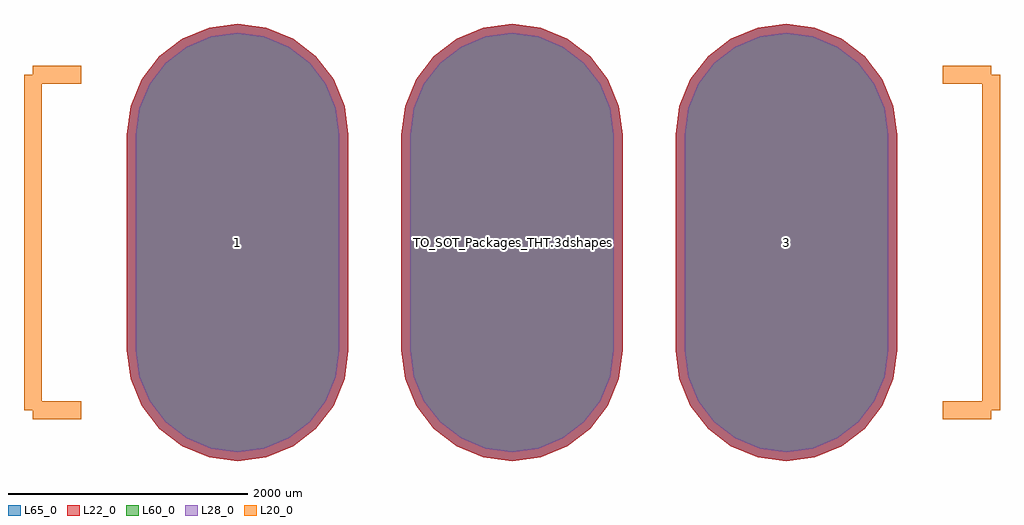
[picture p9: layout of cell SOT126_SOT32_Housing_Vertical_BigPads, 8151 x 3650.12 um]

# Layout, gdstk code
import gdstk
lib = gdstk.Library(unit=1e-6, precision=1e-09)
def P(c, l, *ps):  # polygons
    for p in ps: c.add(gdstk.Polygon(p, *l))
L20_0 = (20, 0)
L22_0 = (22, 0)
L28_0 = (28, 0)
L60_0 = (60, 0)
L65_0 = (65, 0)

sot126_sot32_housing_ver = lib.new_cell('SOT126_SOT32_Housing_Vertical_BigPads')
P(sot126_sot32_housing_ver, L22_0, [(2291.08,-1825.06),(2530.392,-1793.554),(2753.395,-1701.183),(2944.892,-1554.242),(3091.833,-1362.745),(3184.204,-1139.742),(3215.71,-900.43),(3215.71,900.43),(3184.204,1139.742),(3091.833,1362.745),(2944.892,1554.242),(2753.395,1701.183),(2530.392,1793.554),(2291.08,1825.06),(2051.768,1793.554),(1828.765,1701.183),(1637.268,1554.242),(1490.327,1362.745),(1397.956,1139.742),(1366.45,900.43),(1366.45,-900.43),(1397.956,-1139.742),(1490.327,-1362.745),(1637.268,-1554.242),(1828.765,-1701.183),(2051.768,-1793.554)],
  [(-2291.08,-1825.06),(-2051.768,-1793.554),(-1828.765,-1701.183),(-1637.268,-1554.242),(-1490.327,-1362.745),(-1397.956,-1139.742),(-1366.45,-900.43),(-1366.45,900.43),(-1397.956,1139.742),(-1490.327,1362.745),(-1637.268,1554.242),(-1828.765,1701.183),(-2051.768,1793.554),(-2291.08,1825.06),(-2530.392,1793.554),(-2753.395,1701.183),(-2944.892,1554.242),(-3091.833,1362.745),(-3184.204,1139.742),(-3215.71,900.43),(-3215.71,-900.43),(-3184.204,-1139.742),(-3091.833,-1362.745),(-2944.892,-1554.242),(-2753.395,-1701.183),(-2530.392,-1793.554)],
  [(0,-1825.06),(239.312,-1793.554),(462.315,-1701.183),(653.812,-1554.242),(800.753,-1362.745),(893.124,-1139.742),(924.63,-900.43),(924.63,900.43),(893.124,1139.742),(800.753,1362.745),(653.812,1554.242),(462.315,1701.183),(239.312,1793.554),(0,1825.06),(-239.312,1793.554),(-462.315,1701.183),(-653.812,1554.242),(-800.753,1362.745),(-893.124,1139.742),(-924.63,900.43),(-924.63,-900.43),(-893.124,-1139.742),(-800.753,-1362.745),(-653.812,-1554.242),(-462.315,-1701.183),(-239.312,-1793.554)])
P(sot126_sot32_housing_ver, L28_0, [(2291.08,-1750.06),(2510.98,-1721.11),(2715.895,-1636.231),(2891.859,-1501.209),(3026.881,-1325.245),(3111.76,-1120.33),(3140.71,-900.43),(3140.71,900.43),(3111.76,1120.33),(3026.881,1325.245),(2891.859,1501.209),(2715.895,1636.231),(2510.98,1721.11),(2291.08,1750.06),(2071.18,1721.11),(1866.265,1636.231),(1690.301,1501.209),(1555.279,1325.245),(1470.4,1120.33),(1441.45,900.43),(1441.45,-900.43),(1470.4,-1120.33),(1555.279,-1325.245),(1690.301,-1501.209),(1866.265,-1636.231),(2071.18,-1721.11)],
  [(-2291.08,-1750.06),(-2071.18,-1721.11),(-1866.265,-1636.231),(-1690.301,-1501.209),(-1555.279,-1325.245),(-1470.4,-1120.33),(-1441.45,-900.43),(-1441.45,900.43),(-1470.4,1120.33),(-1555.279,1325.245),(-1690.301,1501.209),(-1866.265,1636.231),(-2071.18,1721.11),(-2291.08,1750.06),(-2510.98,1721.11),(-2715.895,1636.231),(-2891.859,1501.209),(-3026.881,1325.245),(-3111.76,1120.33),(-3140.71,900.43),(-3140.71,-900.43),(-3111.76,-1120.33),(-3026.881,-1325.245),(-2891.859,-1501.209),(-2715.895,-1636.231),(-2510.98,-1721.11)],
  [(0,-1750.06),(219.9,-1721.11),(424.815,-1636.231),(600.779,-1501.209),(735.801,-1325.245),(820.68,-1120.33),(849.63,-900.43),(849.63,900.43),(820.68,1120.33),(735.801,1325.245),(600.779,1501.209),(424.815,1636.231),(219.9,1721.11),(0,1750.06),(-219.9,1721.11),(-424.815,1636.231),(-600.779,1501.209),(-735.801,1325.245),(-820.68,1120.33),(-849.63,900.43),(-849.63,-900.43),(-820.68,-1120.33),(-735.801,-1325.245),(-600.779,-1501.209),(-424.815,-1636.231),(-219.9,-1721.11)])
P(sot126_sot32_housing_ver, L60_0, [(2291.08,-1750.06),(2510.98,-1721.11),(2715.895,-1636.231),(2891.859,-1501.209),(3026.881,-1325.245),(3111.76,-1120.33),(3140.71,-900.43),(3140.71,900.43),(3111.76,1120.33),(3026.881,1325.245),(2891.859,1501.209),(2715.895,1636.231),(2510.98,1721.11),(2291.08,1750.06),(2071.18,1721.11),(1866.265,1636.231),(1690.301,1501.209),(1555.279,1325.245),(1470.4,1120.33),(1441.45,900.43),(1441.45,-900.43),(1470.4,-1120.33),(1555.279,-1325.245),(1690.301,-1501.209),(1866.265,-1636.231),(2071.18,-1721.11)],
  [(-2291.08,-1750.06),(-2071.18,-1721.11),(-1866.265,-1636.231),(-1690.301,-1501.209),(-1555.279,-1325.245),(-1470.4,-1120.33),(-1441.45,-900.43),(-1441.45,900.43),(-1470.4,1120.33),(-1555.279,1325.245),(-1690.301,1501.209),(-1866.265,1636.231),(-2071.18,1721.11),(-2291.08,1750.06),(-2510.98,1721.11),(-2715.895,1636.231),(-2891.859,1501.209),(-3026.881,1325.245),(-3111.76,1120.33),(-3140.71,900.43),(-3140.71,-900.43),(-3111.76,-1120.33),(-3026.881,-1325.245),(-2891.859,-1501.209),(-2715.895,-1636.231),(-2510.98,-1721.11)],
  [(0,-1750.06),(219.9,-1721.11),(424.815,-1636.231),(600.779,-1501.209),(735.801,-1325.245),(820.68,-1120.33),(849.63,-900.43),(849.63,900.43),(820.68,1120.33),(735.801,1325.245),(600.779,1501.209),(424.815,1636.231),(219.9,1721.11),(0,1750.06),(-219.9,1721.11),(-424.815,1636.231),(-600.779,1501.209),(-735.801,1325.245),(-820.68,1120.33),(-849.63,900.43),(-849.63,-900.43),(-820.68,-1120.33),(-735.801,-1325.245),(-600.779,-1501.209),(-424.815,-1636.231),(-219.9,-1721.11)])
P(sot126_sot32_housing_ver, L65_0, [(2291.08,-1825.06),(2530.392,-1793.554),(2753.395,-1701.183),(2944.892,-1554.242),(3091.833,-1362.745),(3184.204,-1139.742),(3215.71,-900.43),(3215.71,900.43),(3184.204,1139.742),(3091.833,1362.745),(2944.892,1554.242),(2753.395,1701.183),(2530.392,1793.554),(2291.08,1825.06),(2051.768,1793.554),(1828.765,1701.183),(1637.268,1554.242),(1490.327,1362.745),(1397.956,1139.742),(1366.45,900.43),(1366.45,-900.43),(1397.956,-1139.742),(1490.327,-1362.745),(1637.268,-1554.242),(1828.765,-1701.183),(2051.768,-1793.554)],
  [(-2291.08,-1825.06),(-2051.768,-1793.554),(-1828.765,-1701.183),(-1637.268,-1554.242),(-1490.327,-1362.745),(-1397.956,-1139.742),(-1366.45,-900.43),(-1366.45,900.43),(-1397.956,1139.742),(-1490.327,1362.745),(-1637.268,1554.242),(-1828.765,1701.183),(-2051.768,1793.554),(-2291.08,1825.06),(-2530.392,1793.554),(-2753.395,1701.183),(-2944.892,1554.242),(-3091.833,1362.745),(-3184.204,1139.742),(-3215.71,900.43),(-3215.71,-900.43),(-3184.204,-1139.742),(-3091.833,-1362.745),(-2944.892,-1554.242),(-2753.395,-1701.183),(-2530.392,-1793.554)],
  [(0,-1825.06),(239.312,-1793.554),(462.315,-1701.183),(653.812,-1554.242),(800.753,-1362.745),(893.124,-1139.742),(924.63,-900.43),(924.63,900.43),(893.124,1139.742),(800.753,1362.745),(653.812,1554.242),(462.315,1701.183),(239.312,1793.554),(0,1825.06),(-239.312,1793.554),(-462.315,1701.183),(-653.812,1554.242),(-800.753,1362.745),(-893.124,1139.742),(-924.63,900.43),(-924.63,-900.43),(-893.124,-1139.742),(-800.753,-1362.745),(-653.812,-1554.242),(-462.315,-1701.183),(-239.312,-1793.554)])
sot126_sot32_housing_ver.add(gdstk.FlexPath([(4000.5,-1399.54),(3599.18,-1399.54)], 149.998, ends="flush", simple_path=True, layer=20, datatype=0))  # L20_0
sot126_sot32_housing_ver.add(gdstk.FlexPath([(4000.5,1399.54),(4000.5,-1399.54)], 149.998, ends="flush", simple_path=True, layer=20, datatype=0))  # L20_0
sot126_sot32_housing_ver.add(gdstk.FlexPath([(4000.5,1399.54),(3599.18,1399.54)], 149.998, ends="flush", simple_path=True, layer=20, datatype=0))  # L20_0
sot126_sot32_housing_ver.add(gdstk.FlexPath([(-4000.5,-1399.54),(-3599.18,-1399.54)], 149.998, ends="flush", simple_path=True, layer=20, datatype=0))  # L20_0
sot126_sot32_housing_ver.add(gdstk.FlexPath([(-4000.5,1399.54),(-4000.5,-1399.54)], 149.998, ends="flush", simple_path=True, layer=20, datatype=0))  # L20_0
sot126_sot32_housing_ver.add(gdstk.FlexPath([(-4000.5,1399.54),(-3599.18,1399.54)], 149.998, ends="flush", simple_path=True, layer=20, datatype=0))  # L20_0
sot126_sot32_housing_ver.add(gdstk.Label('TO_SOT_Packages_THT.3dshapes/SOT126_SOT32_Housing_Vertical_BigPads.wrl', (0,0), layer=12, texttype=0))
sot126_sot32_housing_ver.add(gdstk.Label('3', (2291.08,0), layer=28, texttype=0))
sot126_sot32_housing_ver.add(gdstk.Label('1', (-2291.08,0), layer=28, texttype=0))
sot126_sot32_housing_ver.add(gdstk.Label('2', (0,0), layer=28, texttype=0))
sot126_sot32_housing_ver.add(gdstk.Label('type', (99.06,-3500.12), layer=9, texttype=0))
sot126_sot32_housing_ver.add(gdstk.Label('devicename', (99.06,4000.5), layer=9, texttype=0))

lib.write_gds('SOT126_SOT32_Housing_Vertical_BigPads.gds')
